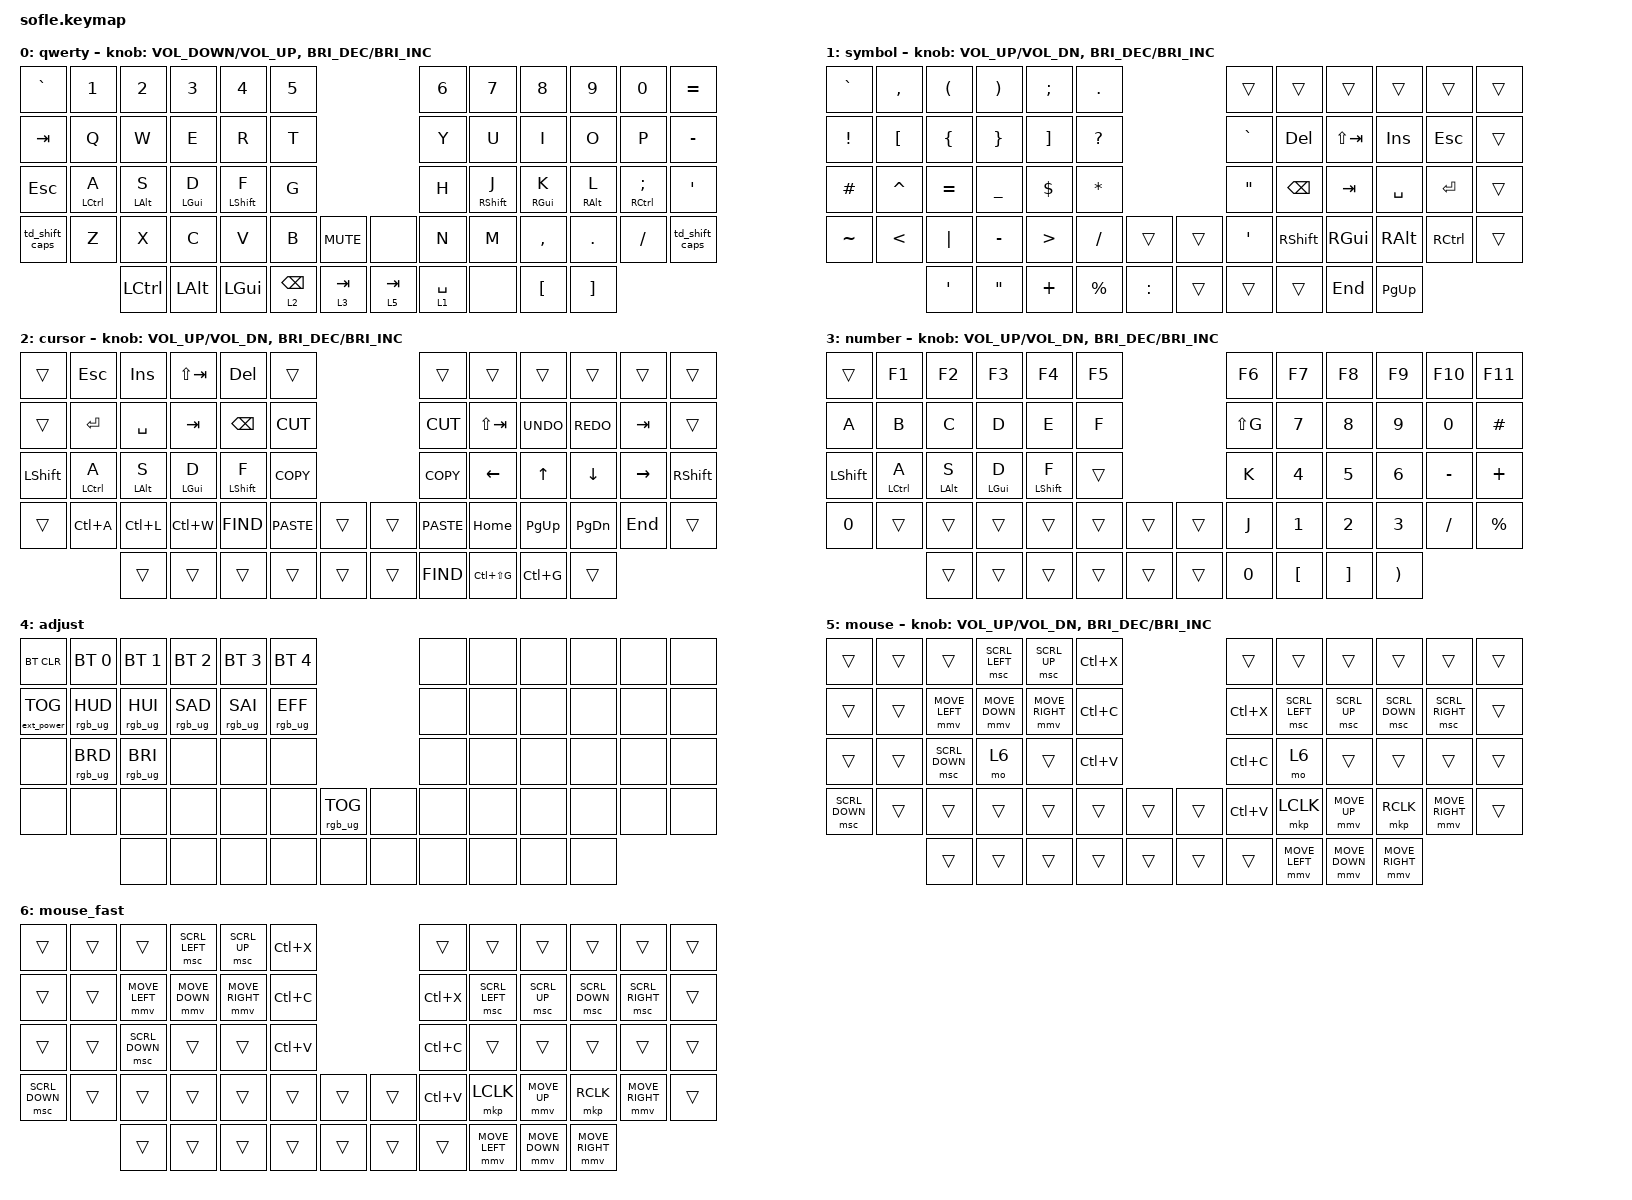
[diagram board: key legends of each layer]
/*
 * Copyright (c) 2020 The ZMK Contributors
 *
 * SPDX-License-Identifier: MIT
 */

#include <dt-bindings/zmk/mouse.h>
#include <zephyr/dt-bindings/input/input-event-codes.h>
#include <behaviors.dtsi>
#include <dt-bindings/zmk/bt.h>
#include <dt-bindings/zmk/ext_power.h>
#include <dt-bindings/zmk/keys.h>
#include <dt-bindings/zmk/pointing.h>
#include <dt-bindings/zmk/rgb.h>

#define BASE 0
#define LOWER 1
#define RAISE 2
#define NUMBER 3
#define ADJUST 4
#define MOUSE 5

// Mouse speed configuration (adapted from glove80)

#define MOUSE_MOTION_DELAY 0
#define MOUSE_MOTION_ACCELERATION_EXPONENT 1
#define MOUSE_MOTION_TIME_TO_MAXIMUM_SPEED 300
#define MOUSE_MOTION_MAXIMUM_SPEED 600
#define MOUSE_SCROLL_DELAY 0
#define MOUSE_SCROLL_ACCELERATION_EXPONENT 0
#define MOUSE_SCROLL_TIME_TO_MAXIMUM_SPEED 300
#define MOUSE_SCROLL_MAXIMUM_SPEED 30

// Mouse speed scaling factors

#define MOUSE_SCALER_FINE 1 16
#define MOUSE_SCALER_SLOW 1 4
#define MOUSE_SCALER_FAST 4 1
#define MOUSE_SCALER_WARP 12 1

/ {
    // Activate ADJUST layer by pressing raise and lower

    conditional_layers {
        compatible = "zmk,conditional-layers";

        adjust_layer {
            if-layers = <1 2>;
            then-layer = <4>;
        };
    };

    combos {
        compatible = "zmk,combos";

        // Left bootloader combo: 2 + 5

        combo_bootloader_left {
            timeout-ms = <500>;
            key-positions = <2 5>;
            bindings = <&bootloader>;
        };

        // Right bootloader combo: 0 + 6

        combo_bootloader_right {
            timeout-ms = <500>;
            key-positions = <9 6>;
            bindings = <&bootloader>;
        };

        // Bluetooth combos: Z + B + number (all on left half)
        // Z = 37, B = 41, ` = 0, 1-5 = 1-5

        combo_bt_clear {
            timeout-ms = <300>;
            key-positions = <37 41 0>;
            bindings = <&bt BT_CLR>;
        };

        combo_bt_sel_0 {
            timeout-ms = <300>;
            key-positions = <37 41 1>;
            bindings = <&bt BT_SEL 0>;
        };

        combo_bt_sel_1 {
            timeout-ms = <300>;
            key-positions = <37 41 2>;
            bindings = <&bt BT_SEL 1>;
        };

        combo_bt_sel_2 {
            timeout-ms = <300>;
            key-positions = <37 41 3>;
            bindings = <&bt BT_SEL 2>;
        };

        combo_bt_sel_3 {
            timeout-ms = <300>;
            key-positions = <37 41 4>;
            bindings = <&bt BT_SEL 3>;
        };

        combo_bt_sel_4 {
            timeout-ms = <300>;
            key-positions = <37 41 5>;
            bindings = <&bt BT_SEL 4>;
        };
    };

    behaviors {
        // Custom layer-tap with quick-tap for auto-repeat
        // Allows tap-then-hold to bypass layer and enable auto-repeat

        lt_repeat: layer_tap_with_repeat {
            compatible = "zmk,behavior-hold-tap";
            #binding-cells = <2>;
            flavor = "tap-preferred";
            tapping-term-ms = <200>;
            quick-tap-ms = <200>;  // Enable tap-then-hold repeat
            bindings = <&mo>, <&kp>;

            hold-while-undecided;  // Activate layer immediately for OLED and conditional layers
        };

        // Home row mod-tap with glove80-style auto-repeat

        hm: homerow_mods {
            compatible = "zmk,behavior-hold-tap";
            #binding-cells = <2>;
            flavor = "balanced";
            tapping-term-ms = <200>;
            quick-tap-ms = <200>;  // glove80 REPEAT_DECAY for tap-then-hold auto-repeat
            require-prior-idle-ms = <100>;
            bindings = <&kp>, <&kp>;
            hold-while-undecided;  // Send modifier immediately for encoder/mouse compatibility
        };

        // Tap-dance: single tap = sticky shift, double tap = caps_word
        td_shift_caps: tap_dance_shift_caps {
            compatible = "zmk,behavior-tap-dance";
            #binding-cells = <0>;
            tapping-term-ms = <200>;
            bindings = <&sk LSHFT>, <&caps_word>;
        };
    };

    keymap {
        compatible = "zmk,keymap";

        default_layer {
            label = "qwerty";

            // ------------------------------------------------------------------------------------------------------------
            // |   `   |  1  |  2  |  3   |  4   |  5   |                   |  6   |  7    |  8    |  9   |   0   |       |
            // |  ESC  |  Q  |  W  |  E   |  R   |  T   |                   |  Y   |  U    |  I    |  O   |   P   | BKSPC |
            // |  TAB  |CTL/A|ALT/S| GUI/D|SHF/F |  G   |                   |  H   |SHF/J | GUI/K |ALT/L |CTL/; |   '   |
            // | SHIFT |  Z  |  X  |  C   |  V   |  B   |  MUTE  |  |       |  N   |  M    |  ,    |  .   |   /   | SHIFT |
            //               | GUI | ALT  | CTRL | LOWER|  ENTER |  | SPACE | RAISE| CTRL  | ALT   | GUI  |

            bindings = <
&kp GRAVE       &kp N1       &kp N2      &kp N3      &kp N4       &kp N5                                                        &kp N6              &kp N7       &kp N8            &kp N9             &kp N0          &kp EQUAL
&kp TAB         &kp Q        &kp W       &kp E       &kp R        &kp T                                                         &kp Y               &kp U        &kp I             &kp O              &kp P           &kp MINUS
&kp ESCAPE      &hm LCTRL A  &hm LALT S  &hm LGUI D  &hm LSHFT F  &kp G                                                         &kp H               &hm RSHFT J  &hm RGUI K        &hm RALT L         &hm RCTRL SEMI  &kp SQT
&td_shift_caps  &kp Z        &kp X       &kp C       &kp V        &kp B                   &kp C_MUTE          &none             &kp N               &kp M        &kp COMMA         &kp DOT            &kp FSLH        &td_shift_caps
                         &kp LCTRL   &kp LALT    &kp LGUI     &lt_repeat 2 BACKSPACE  &lt_repeat 3 TAB    &lt_repeat 5 TAB  &lt_repeat 1 SPACE  &none        &kp LEFT_BRACKET  &kp RIGHT_BRACKET
            >;

            sensor-bindings =
                <&inc_dec_kp C_VOLUME_DOWN C_VOLUME_UP>,
                <&inc_dec_kp C_BRI_DEC C_BRI_INC>;
        };

        lower_layer {
            label = "symbol";

            // SYMBOL LAYER - Programming Symbols (adapted from glove80)
            // ------------------------------------------------------------------------------------------------------------
            // |   `   |  ,   |  (   |  )   |  ;   |  .   |                   |      |      |       |      |       |       |
            // |   !   |  [   |  {   |  }   |  ]   |  ?   |                   |  `   | DEL  | S-TAB | INS  |  ESC  |       |
            // |   #   |  ^   |  =   |  _   |  $   |  *   |                   |  "   | BSPC |  TAB  | SPC  | ENTER |       |
            // |   ~   |  <   |  |   |  -   |  >   |  /   |       |   |       |  '   | SHFT | GUI   | ALT  |  CTL  |       |
            //                |  '   |  "   |  +   |  %   |   :   |   |       |      |      |  END  | PGUP |

            bindings = <
&kp GRAVE  &kp COMMA  &kp LPAR   &kp RPAR   &kp SEMI  &kp DOT                               &trans     &trans     &trans       &trans    &trans     &trans
&kp EXCL   &kp LBKT   &kp LBRC   &kp RBRC   &kp RBKT  &kp QMARK                             &kp GRAVE  &kp DEL    &kp LS(TAB)  &kp INS   &kp ESC    &trans
&kp HASH   &kp CARET  &kp EQUAL  &kp UNDER  &kp DLLR  &kp ASTRK                             &kp DQT    &kp BSPC   &kp TAB      &kp SPACE &kp ENTER  &trans
&kp TILDE  &kp LT     &kp PIPE   &kp MINUS  &kp GT    &kp FSLH   &trans         &trans      &kp SQT    &kp RSHFT  &kp RGUI     &kp RALT  &kp RCTRL  &trans
                      &kp SQT    &kp DQT    &kp PLUS  &kp PRCNT  &kp COLON    &trans     &trans     &trans     &kp END   &kp PG_UP
            >;

            sensor-bindings = <&inc_dec_kp C_VOL_UP C_VOL_DN &inc_dec_kp C_BRI_DEC C_BRI_INC>;
        };

        raise_layer {
            label = "cursor";

            // CURSOR LAYER - Navigation and Editing with Home Row Mods
            // ------------------------------------------------------------------------------------------------------------
            // |       |  ESC |  INS | S-TAB|  DEL |      |                   |      |      |       |      |       |       |
            // |       |  RET | SPACE|  TAB | BSPC | CUT  |                   | CUT  |S-TAB | UNDO  | REDO |  TAB  |       |
            // | SHIFT |CTL/A |ALT/S |GUI/D |SHF/F | COPY |                   | COPY | LEFT |  UP   | DOWN | RIGHT | SHIFT |
            // |       |SEL_AL|SEL_LN|SEL_WD| FIND |PASTE |      |  |       | PASTE| HOME | PGUP  | PGDN |  END  |       |
            //                |      |      |      |      |      |  |       | FIND |FND_PR|FND_NX |      |

            bindings = <
&trans     &kp ESC      &kp INS     &kp LS(TAB)  &kp DEL      &trans                         &trans       &trans         &trans      &trans      &trans     &trans
&trans     &kp RET      &kp SPACE   &kp TAB      &kp BSPC     &kp K_CUT                      &kp K_CUT    &kp LS(TAB)    &kp K_UNDO  &kp K_REDO  &kp TAB    &trans
&kp LSHFT  &hm LCTRL A  &hm LALT S  &hm LGUI D   &hm LSHFT F  &kp K_COPY                     &kp K_COPY   &kp LEFT       &kp UP      &kp DOWN    &kp RIGHT  &kp RSHFT
&trans     &kp LC(A)    &kp LC(L)   &kp LC(W)    &kp K_FIND   &kp K_PASTE  &trans    &trans  &kp K_PASTE  &kp HOME       &kp PG_UP   &kp PG_DN   &kp END    &trans
                        &trans      &trans       &trans       &trans       &trans    &trans  &kp K_FIND   &kp LC(LS(G))  &kp LC(G)   &trans
            >;

            sensor-bindings = <&inc_dec_kp C_VOL_UP C_VOL_DN &inc_dec_kp C_BRI_DEC C_BRI_INC>;
        };

        number_layer {
            label = "number";

            // NUMBER LAYER - Numpad and Function Keys with Home Row Mods
            // ------------------------------------------------------------------------------------------------------------
            // |       |  F1  |  F2  |  F3  |  F4  | F5   |                   | F6  |  F7  |  F8   |  F9  |  F10  |   F11  |
            // |   A   |  B   |  C   |  D   |  E   |  F   |                   |  G   |  7   |   8   |  9   |   0   |   #   |
            // | SHIFT |CTL/A |ALT/S |GUI/D |SHF/F | HEX  |                   |  K   |  4   |   5   |  6   |   -   |   +   |
            // |  F10  |      |      |      |      |      |      |  |       |   J  |  1   |   2   |  3   |   /   |   %   |
            //                |      |      |      |      |      |  |   0   |   (  |  [   |   ]   |  )   |

            bindings = <
&trans     &kp F1       &kp F2      &kp F3      &kp F4       &kp F5                    &kp F6  &kp F7    &kp F8    &kp F9    &kp F10    &kp F11
&kp A      &kp B        &kp C       &kp D       &kp E        &kp F                     &kp LS(G)   &kp N7    &kp N8    &kp N9    &kp N0     &kp HASH
&kp LSHFT  &hm LCTRL A  &hm LALT S  &hm LGUI D  &hm LSHFT F  &trans                    &kp K   &kp N4    &kp N5    &kp N6    &kp MINUS  &kp PLUS
&kp N0     &trans       &trans      &trans      &trans       &trans  &trans    &trans  &kp J   &kp N1    &kp N2    &kp N3    &kp FSLH   &kp PRCNT
                        &trans      &trans      &trans       &trans  &trans    &trans  &kp N0  &kp LBKT  &kp RBKT  &kp RPAR
            >;

            sensor-bindings = <&inc_dec_kp C_VOL_UP C_VOL_DN &inc_dec_kp C_BRI_DEC C_BRI_INC>;
        };

        adjust_layer {
            // ----------------------------------------------------------------------------------------------------------------------------
            // | BTCLR  |  BT1    |  BT2    |   BT3   |   BT4   |   BT5   |                  |      |      |       |      |       |       |
            // | EXTPWR | RGB_HUD | RGB_HUI | RGB_SAD | RGB_SAI | RGB_EFF |                  |      |      |       |      |       |       |
            // |        | RGB_BRD | RGB_BRI |         |         |         |                  |      |      |       |      |       |       |
            // |        |         |         |         |         |         | RGB_TOG | |      |      |      |       |      |       |       |
            //                    |         |         |         |         |         | |      |      |      |       |      |

            label = "adjust";
            bindings = <
&bt BT_CLR         &bt BT_SEL 0     &bt BT_SEL 1     &bt BT_SEL 2     &bt BT_SEL 3     &bt BT_SEL 4                               &none  &none  &none  &none  &none  &none
&ext_power EP_TOG  &rgb_ug RGB_HUD  &rgb_ug RGB_HUI  &rgb_ug RGB_SAD  &rgb_ug RGB_SAI  &rgb_ug RGB_EFF                            &none  &none  &none  &none  &none  &none
&none              &rgb_ug RGB_BRD  &rgb_ug RGB_BRI  &none            &none            &none                                      &none  &none  &none  &none  &none  &none
&none              &none            &none            &none            &none            &none            &rgb_ug RGB_TOG    &none  &none  &none  &none  &none  &none  &none
                                    &none            &none            &none            &none            &none              &none  &none  &none  &none  &none
            >;
        };

        mouse_layer {
            label = "mouse";

            // MOUSE LAYER - Simplified with normal and fast speeds only
            // Hold FAST key to temporarily activate fast speed layer
            // ------------------------------------------------------------------------------------------------------------
            // |       |      | SCR_U|      |      | CUT  |                   |       |      |      |      |      |       |
            // |       | M_LT | M_DN | M_RT |      | COPY |                   | CUT   | SCR_L| SCR_U| SCR_D| SCR_R |       |
            // |       | SCR_D|      | FAST |      | PASTE|                   | COPY  | FAST |      |      |      |       |
            // | SCR_D |      |      |      |      |      |       |  |       | PASTE| LMB  | M_UP | RMB  | M_RT |       |
            //                |      |      |      |      |       |  |       |      | M_L  | M_DN | M_RT |

            bindings = <
&trans          &trans  &trans          &msc SCRL_LEFT  &msc SCRL_UP     &kp LC(X)                          &trans     &trans          &trans        &trans          &trans           &trans
&trans          &trans  &mmv MOVE_LEFT  &mmv MOVE_DOWN  &mmv MOVE_RIGHT  &kp LC(C)                          &kp LC(X)  &msc SCRL_LEFT  &msc SCRL_UP  &msc SCRL_DOWN  &msc SCRL_RIGHT  &trans
&trans          &trans  &msc SCRL_DOWN  &mo 6           &trans           &kp LC(V)                          &kp LC(C)  &mo 6           &trans        &trans          &trans           &trans
&msc SCRL_DOWN  &trans  &trans          &trans          &trans           &trans           &trans    &trans  &kp LC(V)  &mkp LCLK       &mmv MOVE_UP  &mkp RCLK       &mmv MOVE_RIGHT  &trans
                        &trans          &trans          &trans           &trans           &trans    &trans  &trans     &mmv MOVE_LEFT  &mmv MOVE_DOWN &mmv MOVE_RIGHT
            >;

            sensor-bindings = <&inc_dec_kp C_VOL_UP C_VOL_DN &inc_dec_kp C_BRI_DEC C_BRI_INC>;
        };

        mouse_fast_layer {
            label = "mouse_fast";

            // FAST SPEED (Layer 7) - Fast mouse movement (4x speed)
            // Activated only while holding FAST key on mouse layer

            bindings = <
&trans          &trans  &trans          &msc SCRL_LEFT  &msc SCRL_UP     &kp LC(X)                          &trans     &trans          &trans        &trans          &trans           &trans
&trans          &trans  &mmv MOVE_LEFT  &mmv MOVE_DOWN  &mmv MOVE_RIGHT  &kp LC(C)                          &kp LC(X)  &msc SCRL_LEFT  &msc SCRL_UP  &msc SCRL_DOWN  &msc SCRL_RIGHT  &trans
&trans          &trans  &msc SCRL_DOWN  &trans          &trans           &kp LC(V)                          &kp LC(C)  &trans          &trans        &trans          &trans           &trans
&msc SCRL_DOWN  &trans  &trans          &trans          &trans           &trans           &trans    &trans  &kp LC(V)  &mkp LCLK       &mmv MOVE_UP  &mkp RCLK       &mmv MOVE_RIGHT  &trans
                        &trans          &trans          &trans           &trans           &trans    &trans  &trans     &mmv MOVE_LEFT  &mmv MOVE_DOWN &mmv MOVE_RIGHT
            >;
        };
    };
};

// Mouse behavior configuration (outside main keymap)

&mmv {
    delay-ms = <MOUSE_MOTION_DELAY>;
    acceleration-exponent = <MOUSE_MOTION_ACCELERATION_EXPONENT>;
    time-to-max-speed-ms = <MOUSE_MOTION_TIME_TO_MAXIMUM_SPEED>;
};

&msc {
    delay-ms = <MOUSE_SCROLL_DELAY>;
    acceleration-exponent = <MOUSE_SCROLL_ACCELERATION_EXPONENT>;
    time-to-max-speed-ms = <MOUSE_SCROLL_TIME_TO_MAXIMUM_SPEED>;
};

// Input processors for mouse speed scaling

/ {
    input_processors {
        zip_xy_scaler: zip_xy_scaler {
            compatible = "zmk,input-processor-scaler";
            #input-processor-cells = <2>;
            type = <INPUT_EV_REL>;
            codes = <INPUT_REL_X INPUT_REL_Y>;
            track-remainders;
        };
    };
};

// Configure input listener for fast speed layer

&mmv_input_listener {
    fast {
        layers = <6>;
        input-processors = <&zip_xy_scaler MOUSE_SCALER_FAST>;
    };
};
